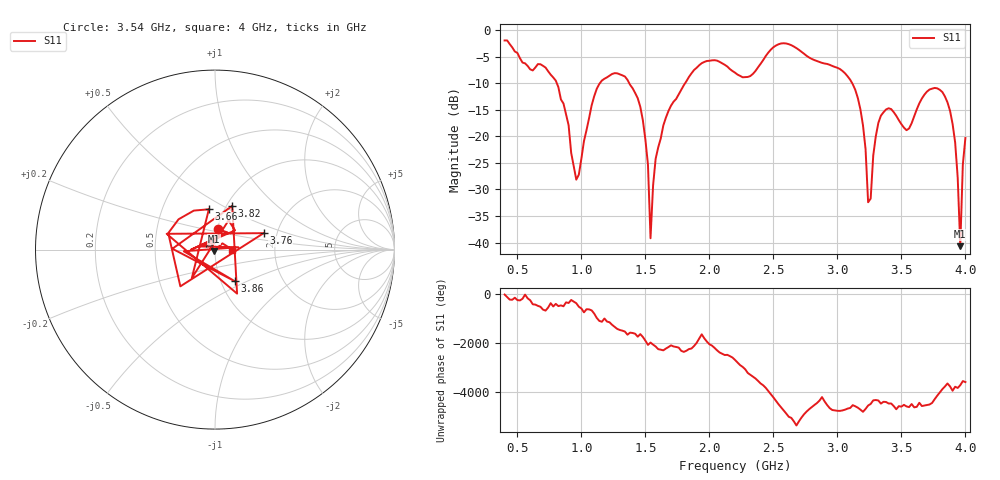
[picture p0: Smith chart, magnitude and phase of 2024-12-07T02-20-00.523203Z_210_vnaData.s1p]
!Created with skrf (http://scikit-rf.org).
# Hz S RI R 50.0
!freq ReS11 ImS11
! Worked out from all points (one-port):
!   181 points, 400 MHz to 4 GHz, reference 50 ohm
!   lowest |S11| = -40.7 dB at 3.96 GHz (marker M1), VSWR 1.02, Z = 49.4 - j0.71 ohm
!   |S11| at or under -10 dB: 808 MHz to 1.144 GHz (335.9 MHz wide, 34.4 % of centre); 1.374 GHz to 1.81 GHz (436.1 MHz wide, 27.4 % of centre); 3.116 GHz to end of sweep
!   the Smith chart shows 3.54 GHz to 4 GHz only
!   S11 on the Smith chart (normalised r, x): 3.54 GHz: 1.01, +0.23; 3.66 GHz: 0.85, +0.40; 3.76 GHz: 1.70, +0.34; 3.82 GHz: 1.06, +0.55; 3.86 GHz: 1.17, -0.43; 4 GHz: 1.21, -0.00
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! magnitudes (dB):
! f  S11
! 400 MHz  -1.9
! 720 MHz  -7.0
! 860 MHz  -13.8
! 960 MHz  -28.2
! 1.12 GHz  -11.0
! 1.3 GHz  -8.3
! 1.48 GHz  -17.0
! 1.52 GHz  -25.3
! 1.54 GHz  -39.2
! 1.58 GHz  -24.2
! 1.76 GHz  -12.1
! 1.96 GHz  -6.0
! 2.2 GHz  -8.0
! 2.66 GHz  -3.1
! 3.1 GHz  -9.3
! 3.2 GHz  -17.9
! 3.24 GHz  -32.4
! 3.34 GHz  -16.1
! 3.54 GHz  -18.8
! 3.56 GHz  -18.5
! 3.66 GHz  -12.9
! 3.76 GHz  -10.9
! 3.82 GHz  -11.7
! 3.86 GHz  -13.6
! 3.92 GHz  -21.2
! 3.96 GHz  -40.7
! 3.98 GHz  -25.3
! 4 GHz  -20.3
